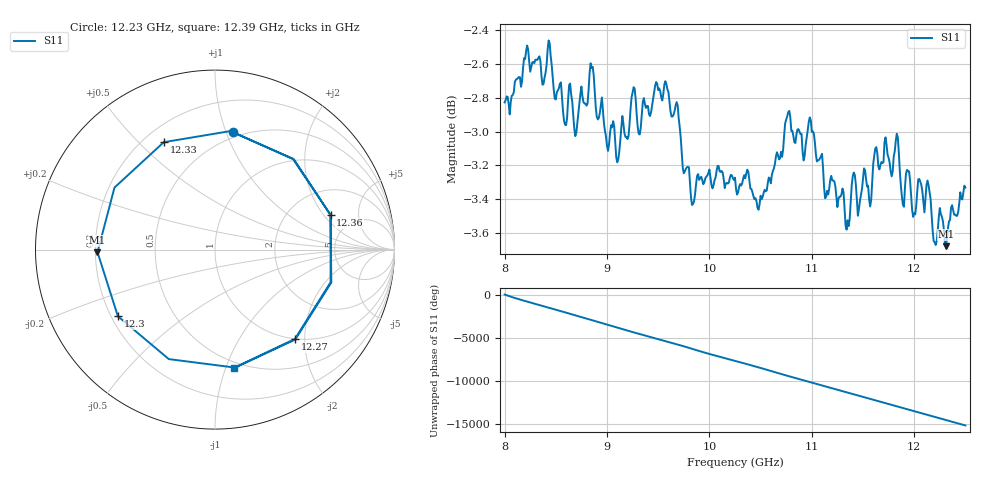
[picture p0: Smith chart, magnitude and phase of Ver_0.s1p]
#  HZ  S  RI  R  50.00
! Rohde & Schwarz Vector Network Analyzer
! Rohde-Schwarz,ZNA43-4Port,1332450044101932,2.92
! Created: UTC 6/2/2026, 7:41:55 AM
! freq[Hz]  re:S11  im:S11
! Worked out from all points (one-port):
!   451 points, 8 GHz to 12.5 GHz, reference 50 ohm
!   lowest |S11| = -3.7 dB at 12.31 GHz (marker M1), VSWR 4.79, Z = 10.4 - j0.533 ohm
!   |S11| at or under -10 dB: nowhere
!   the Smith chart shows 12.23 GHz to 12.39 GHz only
!   S11 on the Smith chart (normalised r, x): 12.23 GHz: 0.45, +1.05; 12.27 GHz: 1.00, -1.79; 12.3 GHz: 0.23, -0.30; 12.33 GHz: 0.28, +0.60; 12.36 GHz: 3.33, +2.36; 12.39 GHz: 0.45, -1.07
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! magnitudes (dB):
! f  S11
! 8 GHz  -2.8
! 8.44 GHz  -2.5
! 8.57 GHz  -2.9
! 8.7 GHz  -3.0
! 8.85 GHz  -2.6
! 9 GHz  -3.1
! 9.13 GHz  -3.0
! 9.26 GHz  -2.7
! 9.31 GHz  -3.0
! 9.49 GHz  -2.7
! 9.69 GHz  -2.8
! 9.84 GHz  -3.4
! 10.25 GHz  -3.3
! 10.49 GHz  -3.4
! 10.76 GHz  -2.9
! 10.82 GHz  -3.0
! 10.99 GHz  -2.9
! 11.38 GHz  -3.4
! 11.73 GHz  -3.1
! 11.94 GHz  -3.2
! 12.23 GHz  -3.6
! 12.27 GHz  -3.5
! 12.3 GHz  -3.7
! 12.31 GHz  -3.7
! 12.33 GHz  -3.6
! 12.36 GHz  -3.4
! 12.39 GHz  -3.5
! 12.5 GHz  -3.3
